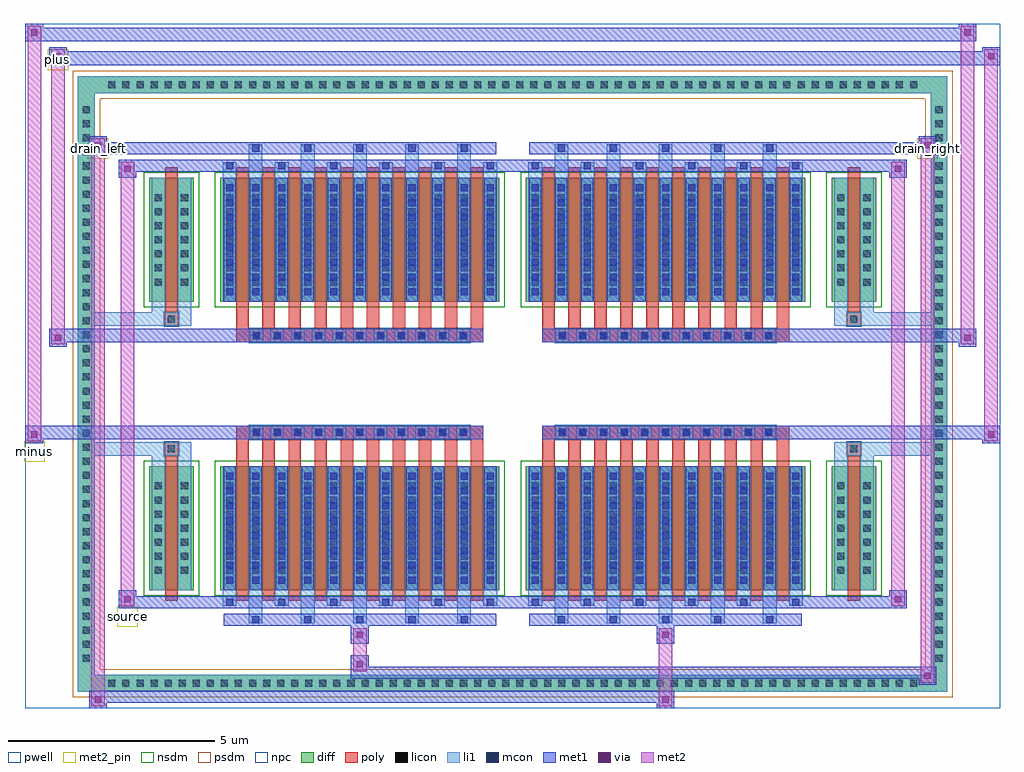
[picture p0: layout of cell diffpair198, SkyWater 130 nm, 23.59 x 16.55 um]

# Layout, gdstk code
import gdstk
lib = gdstk.Library(unit=1e-6, precision=5e-09)
def R(c, l, rs):  # rectangles x0, y0, x1, y1
    for r in rs: c.add(gdstk.rectangle(r[:2], r[2:], *l))
def A(c, l, x, y, w, h, nx, ny, dx, dy):  # array of equal rectangles
    R(c, l, [(x+i*dx, y+j*dy, x+i*dx+w, y+j*dy+h) for i in range(nx) for j in range(ny)])
def P(c, l, *ps):  # polygons
    for p in ps: c.add(gdstk.Polygon(p, *l))
pwell = (64, 44)
diff = (65, 20)
poly = (66, 20)
licon = (66, 44)
li1 = (67, 20)
mcon = (67, 44)
met1 = (68, 20)
via = (68, 44)
met2_pin = (69, 16)
met2 = (69, 20)
nsdm = (93, 44)
psdm = (94, 20)
npc = (95, 20)

diffpair198 = lib.new_cell('diffpair198')
R(diffpair198, pwell, [(-11.78,-7.84,11.78,8.71), (-9.1,-6.03,-0.01,-0.805), (0.01,-6.03,9.1,-0.805), (-9.1,0.805,-0.01,6.03), (0.01,0.805,9.1,6.03)])
A(diffpair198, diff, -9.895, -7.44, 0.41, 0.41, 58, 2, 0.34, 14.47)
A(diffpair198, diff, -10.51, -6.835, 0.41, 0.41, 1, 40, 0, 0.34)
A(diffpair198, diff, 10.1, -6.835, 0.41, 0.41, 1, 40, 0, 0.34)
R(diffpair198, diff, [(-9.895,-7.44,9.895,-7.03), (-10.51,-6.835,-10.1,6.835), (10.1,-6.835,10.51,6.835), (-8.79,-4.985,-7.71,-1.985), (-7.07,-4.985,-0.32,-1.985), (0.32,-4.985,7.07,-1.985), (7.71,-4.985,8.79,-1.985), (-8.79,1.985,-7.71,4.985), (-7.07,1.985,-0.32,4.985), (0.32,1.985,7.07,4.985), (7.71,1.985,8.79,4.985), (-9.895,7.03,9.895,7.44)])
P(diffpair198, diff, [(10.51,7.44),(-10.51,7.44),(-10.51,-7.03),(-10.1,-7.03),(-10.1,7.03),(10.1,7.03),(10.1,-7.03),(-10.1,-7.03),(-10.51,-7.03),(-10.51,-7.44),(10.51,-7.44)])
A(diffpair198, poly, -6.68, -5.235, 0.3, 3.5, 10, 2, 0.63, 6.97)
A(diffpair198, poly, 0.71, -5.235, 0.3, 3.5, 10, 2, 0.63, 6.97)
A(diffpair198, poly, -6.68, -1.735, 0.3, 0.4, 10, 2, 0.63, 3.07)
A(diffpair198, poly, 0.71, -1.735, 0.3, 0.4, 10, 2, 0.63, 3.07)
A(diffpair198, poly, -6.36, -1.335, 0.33, 0.33, 11, 2, 0.5, 2.34)
A(diffpair198, poly, 1.03, -1.335, 0.33, 0.33, 11, 2, 0.5, 2.34)
R(diffpair198, poly, [(-8.4,-5.235,-8.1,-1.735), (8.1,-5.235,8.4,-1.735), (-8.415,-1.735,-8.085,-1.405), (-8.415,-1.735,-8.085,-1.405), (8.085,-1.735,8.415,-1.405), (8.085,-1.735,8.415,-1.405), (-6.68,-1.335,-0.71,-1.005), (0.71,-1.335,6.68,-1.005), (-6.68,1.005,-0.71,1.335), (0.71,1.005,6.68,1.335), (-8.415,1.405,-8.085,1.735), (-8.415,1.405,-8.085,1.735), (8.085,1.405,8.415,1.735), (8.085,1.405,8.415,1.735), (-8.4,1.735,-8.1,5.235), (8.1,1.735,8.4,5.235)])
A(diffpair198, licon, -9.775, -7.32, 0.17, 0.17, 58, 2, 0.34, 14.47)
A(diffpair198, licon, -10.39, -6.715, 0.17, 0.17, 1, 40, 0, 0.34)
A(diffpair198, licon, 10.22, -6.715, 0.17, 0.17, 1, 40, 0, 0.34)
A(diffpair198, licon, -8.65, -4.59, 0.17, 0.17, 1, 7, 0, 0.34)
A(diffpair198, licon, -8.02, -4.59, 0.17, 0.17, 1, 7, 0, 0.34)
A(diffpair198, licon, -6.93, -4.59, 0.17, 0.17, 11, 7, 0.63, 0.34)
A(diffpair198, licon, 0.46, -4.59, 0.17, 0.17, 11, 7, 0.63, 0.34)
A(diffpair198, licon, 7.85, -4.59, 0.17, 0.17, 1, 7, 0, 0.34)
A(diffpair198, licon, 8.48, -4.59, 0.17, 0.17, 1, 7, 0, 0.34)
A(diffpair198, licon, -6.28, -1.255, 0.17, 0.17, 11, 2, 0.5, 2.34)
A(diffpair198, licon, 1.11, -1.255, 0.17, 0.17, 11, 2, 0.5, 2.34)
A(diffpair198, licon, -8.65, 2.38, 0.17, 0.17, 1, 7, 0, 0.34)
A(diffpair198, licon, -8.02, 2.38, 0.17, 0.17, 1, 7, 0, 0.34)
A(diffpair198, licon, -6.93, 2.38, 0.17, 0.17, 11, 7, 0.63, 0.34)
A(diffpair198, licon, 0.46, 2.38, 0.17, 0.17, 11, 7, 0.63, 0.34)
A(diffpair198, licon, 7.85, 2.38, 0.17, 0.17, 1, 7, 0, 0.34)
A(diffpair198, licon, 8.48, 2.38, 0.17, 0.17, 1, 7, 0, 0.34)
R(diffpair198, licon, [(-8.335,-1.655,-8.165,-1.485), (8.165,-1.655,8.335,-1.485), (-8.335,1.485,-8.165,1.655), (8.165,1.485,8.335,1.655)])
A(diffpair198, li1, -9.855, -7.4, 0.33, 0.33, 58, 2, 0.34, 14.47)
A(diffpair198, li1, -10.47, -6.795, 0.33, 0.33, 1, 40, 0, 0.34)
A(diffpair198, li1, 10.14, -6.795, 0.33, 0.33, 1, 40, 0, 0.34)
A(diffpair198, li1, -6.38, -5.79, 0.33, 0.805, 5, 2, 1.26, 10.775)
A(diffpair198, li1, -6.3, -5.79, 0.17, 0.17, 5, 2, 1.26, 11.41)
A(diffpair198, li1, 1.01, -5.79, 0.33, 0.805, 5, 2, 1.26, 10.775)
A(diffpair198, li1, 1.09, -5.79, 0.17, 0.17, 5, 2, 1.26, 11.41)
A(diffpair198, li1, -7.01, -5.36, 0.33, 0.375, 6, 2, 1.26, 10.345)
A(diffpair198, li1, -6.93, -5.36, 0.17, 0.17, 6, 2, 1.26, 10.55)
A(diffpair198, li1, 0.38, -5.36, 0.33, 0.375, 6, 2, 1.26, 10.345)
A(diffpair198, li1, 0.46, -5.36, 0.17, 0.17, 6, 2, 1.26, 10.55)
A(diffpair198, li1, -7.01, -4.985, 0.33, 3, 11, 2, 0.63, 6.97)
A(diffpair198, li1, 0.38, -4.985, 0.33, 3, 11, 2, 0.63, 6.97)
A(diffpair198, li1, -6.93, -4.83, 0.17, 0.17, 11, 8, 0.63, 0.36)
A(diffpair198, li1, -6.93, -4.83, 0.17, 2.69, 11, 2, 0.63, 6.97)
A(diffpair198, li1, 0.46, -4.83, 0.17, 0.17, 11, 8, 0.63, 0.36)
A(diffpair198, li1, 0.46, -4.83, 0.17, 2.69, 11, 2, 0.63, 6.97)
A(diffpair198, li1, -8.73, -4.67, 0.33, 0.33, 1, 7, 0, 0.34)
A(diffpair198, li1, -8.1, -4.67, 0.33, 0.33, 1, 7, 0, 0.34)
A(diffpair198, li1, -7.01, -4.67, 0.33, 0.33, 11, 7, 0.63, 0.34)
A(diffpair198, li1, 0.38, -4.67, 0.33, 0.33, 11, 7, 0.63, 0.34)
A(diffpair198, li1, 7.77, -4.67, 0.33, 0.33, 1, 7, 0, 0.34)
A(diffpair198, li1, 8.4, -4.67, 0.33, 0.33, 1, 7, 0, 0.34)
A(diffpair198, li1, -6.36, -1.335, 0.33, 0.33, 11, 2, 0.5, 2.34)
A(diffpair198, li1, 1.03, -1.335, 0.33, 0.33, 11, 2, 0.5, 2.34)
A(diffpair198, li1, -6.93, 2.14, 0.17, 0.17, 11, 8, 0.63, 0.36)
A(diffpair198, li1, 0.46, 2.14, 0.17, 0.17, 11, 8, 0.63, 0.36)
A(diffpair198, li1, -8.73, 2.3, 0.33, 0.33, 1, 7, 0, 0.34)
A(diffpair198, li1, -8.1, 2.3, 0.33, 0.33, 1, 7, 0, 0.34)
A(diffpair198, li1, -7.01, 2.3, 0.33, 0.33, 11, 7, 0.63, 0.34)
A(diffpair198, li1, 0.38, 2.3, 0.33, 0.33, 11, 7, 0.63, 0.34)
A(diffpair198, li1, 7.77, 2.3, 0.33, 0.33, 1, 7, 0, 0.34)
A(diffpair198, li1, 8.4, 2.3, 0.33, 0.33, 1, 7, 0, 0.34)
R(diffpair198, li1, [(-10.51,-7.44,-10.1,-7.03), (-10.51,-7.44,-10.1,-7.03), (-10.1,-7.44,10.1,-7.03), (10.1,-7.44,10.51,-7.03), (10.1,-7.44,10.51,-7.03), (-10.51,-7.03,-10.1,7.03), (10.1,-7.03,10.51,7.03), (-8.73,-4.985,-8.4,-1.985), (-8.1,-4.985,-7.77,-1.985), (7.77,-4.985,8.1,-1.985), (8.4,-4.985,8.73,-1.985), (-8.73,-1.985,-8.4,-1.405), (-8.1,-1.985,-7.77,-1.405), (7.77,-1.985,8.1,-1.405), (8.4,-1.985,8.73,-1.405), (-10.51,-1.735,-8.415,-1.405), (-8.73,-1.735,-8.415,-1.405), (-8.415,-1.735,-8.085,-1.405), (-8.085,-1.735,-7.77,-1.405), (7.77,-1.735,8.085,-1.405), (8.085,-1.735,8.415,-1.405), (8.085,-1.735,10.51,-1.405), (8.415,-1.735,8.73,-1.405), (-10.51,1.405,-8.415,1.735), (-8.73,1.405,-8.415,1.735), (-8.73,1.405,-8.4,1.985), (-8.415,1.405,-8.085,1.735), (-8.1,1.405,-7.77,1.985), (-8.085,1.405,-7.77,1.735), (7.77,1.405,8.085,1.735), (7.77,1.405,8.1,1.985), (8.085,1.405,8.415,1.735), (8.085,1.405,10.51,1.735), (8.4,1.405,8.73,1.985), (8.415,1.405,8.73,1.735), (-8.73,1.985,-8.4,4.985), (-8.1,1.985,-7.77,4.985), (7.77,1.985,8.1,4.985), (8.4,1.985,8.73,4.985), (-10.51,7.03,-10.1,7.44), (-10.51,7.03,-10.1,7.44), (-10.1,7.03,10.1,7.44), (10.1,7.03,10.51,7.44), (10.1,7.03,10.51,7.44)])
A(diffpair198, mcon, -6.3, -5.79, 0.17, 0.17, 5, 2, 1.26, 11.41)
A(diffpair198, mcon, 1.09, -5.79, 0.17, 0.17, 5, 2, 1.26, 11.41)
A(diffpair198, mcon, -6.93, -5.36, 0.17, 0.17, 6, 2, 1.26, 10.55)
A(diffpair198, mcon, 0.46, -5.36, 0.17, 0.17, 6, 2, 1.26, 10.55)
A(diffpair198, mcon, -6.93, -4.83, 0.17, 0.17, 11, 8, 0.63, 0.36)
A(diffpair198, mcon, 0.46, -4.83, 0.17, 0.17, 11, 8, 0.63, 0.36)
A(diffpair198, mcon, -6.28, -1.255, 0.17, 0.17, 11, 2, 0.5, 2.34)
A(diffpair198, mcon, 1.11, -1.255, 0.17, 0.17, 11, 2, 0.5, 2.34)
A(diffpair198, mcon, -6.93, 2.14, 0.17, 0.17, 11, 8, 0.63, 0.36)
A(diffpair198, mcon, 0.46, 2.14, 0.17, 0.17, 11, 8, 0.63, 0.36)
A(diffpair198, met1, -6.36, -5.85, 0.29, 0.29, 5, 2, 1.26, 11.41)
A(diffpair198, met1, 1.03, -5.85, 0.29, 0.29, 5, 2, 1.26, 11.41)
A(diffpair198, met1, -6.99, -5.42, 0.29, 0.29, 6, 2, 1.26, 10.55)
A(diffpair198, met1, 0.4, -5.42, 0.29, 0.29, 6, 2, 1.26, 10.55)
A(diffpair198, met1, -6.99, -4.985, 0.29, 3, 11, 2, 0.63, 6.97)
A(diffpair198, met1, 0.4, -4.985, 0.29, 3, 11, 2, 0.63, 6.97)
A(diffpair198, met1, -6.99, -4.89, 0.29, 0.29, 11, 8, 0.63, 0.36)
A(diffpair198, met1, 0.4, -4.89, 0.29, 0.29, 11, 8, 0.63, 0.36)
A(diffpair198, met1, -6.34, -1.315, 0.29, 0.29, 11, 2, 0.5, 2.34)
A(diffpair198, met1, 1.05, -1.315, 0.29, 0.29, 11, 2, 0.5, 2.34)
A(diffpair198, met1, -6.99, 2.08, 0.29, 0.29, 11, 8, 0.63, 0.36)
A(diffpair198, met1, 0.4, 2.08, 0.29, 0.29, 11, 8, 0.63, 0.36)
R(diffpair198, met1, [(-10.24,-7.84,-9.81,-7.41), (3.48,-7.84,3.91,-7.41), (-10.24,-7.7,3.91,-7.41), (9.81,-7.27,10.24,-6.84), (-3.91,-7.13,10.24,-6.84), (-3.91,-6.99,-3.48,-6.56), (-3.91,-6.28,-3.48,-5.85), (3.48,-6.28,3.91,-5.85), (-6.99,-5.85,-0.4,-5.56), (0.4,-5.85,6.99,-5.56), (-9.53,-5.42,-9.1,-4.99), (-9.53,-5.42,-6.99,-5.13), (-6.99,-5.42,-0.4,-5.13), (-0.4,-5.42,0.4,-5.13), (0.4,-5.42,6.99,-5.13), (6.99,-5.42,9.53,-5.13), (9.1,-5.42,9.53,-4.99), (-11.78,-1.435,-11.35,-1.005), (11.35,-1.435,11.78,-1.005), (-11.78,-1.335,-0.71,-1.005), (-6.68,-1.335,-0.71,-1.005), (0.71,-1.335,6.68,-1.005), (0.71,-1.335,11.78,-1.005), (-11.21,0.905,-10.78,1.335), (10.78,0.905,11.21,1.335), (-11.21,1.005,-6.68,1.335), (-6.68,1.005,-0.71,1.335), (0.71,1.005,6.68,1.335), (6.68,1.005,11.21,1.335), (-9.53,4.99,-9.1,5.42), (9.1,4.99,9.53,5.42), (-9.53,5.13,-6.99,5.42), (-6.99,5.13,-0.4,5.42), (-0.4,5.13,0.4,5.42), (0.4,5.13,6.99,5.42), (6.99,5.13,9.53,5.42), (-10.24,5.56,-9.81,5.99), (-10.24,5.56,-6.99,5.85), (-6.99,5.56,-0.4,5.85), (0.4,5.56,6.99,5.85), (6.99,5.56,10.24,5.85), (9.81,5.56,10.24,5.99), (-11.21,7.71,-10.78,8.14), (-11.21,7.71,-9.1,8.04), (-9.1,7.71,9.1,8.04), (9.1,7.71,11.78,8.04), (11.35,7.71,11.78,8.14), (-11.78,8.28,-11.35,8.71), (-11.78,8.28,-9.1,8.61), (-9.1,8.28,9.1,8.61), (9.1,8.28,11.21,8.61), (10.78,8.28,11.21,8.71)])
R(diffpair198, via, [(-10.1,-7.7,-9.95,-7.55), (3.62,-7.7,3.77,-7.55), (9.95,-7.13,10.1,-6.98), (-3.77,-6.85,-3.62,-6.7), (-3.77,-6.14,-3.62,-5.99), (3.62,-6.14,3.77,-5.99), (-9.39,-5.28,-9.24,-5.13), (9.24,-5.28,9.39,-5.13), (-11.64,-1.295,-11.49,-1.145), (11.49,-1.295,11.64,-1.145), (-11.07,1.045,-10.92,1.195), (10.92,1.045,11.07,1.195), (-9.39,5.13,-9.24,5.28), (9.24,5.13,9.39,5.28), (-10.1,5.7,-9.95,5.85), (9.95,5.7,10.1,5.85), (-11.07,7.85,-10.92,8), (11.49,7.85,11.64,8), (-11.64,8.42,-11.49,8.57), (10.92,8.42,11.07,8.57)])
R(diffpair198, met2_pin, [(-9.565,-5.87,-9.065,-5.37), (-11.815,-1.885,-11.315,-1.385), (-10.275,5.44,-9.775,5.94), (9.775,5.44,10.275,5.94), (-11.245,7.59,-10.745,8.09)])
R(diffpair198, met2, [(-10.19,-7.79,-9.86,-7.46), (-10.19,-7.79,-9.86,5.94), (3.53,-7.79,3.86,-7.46), (3.53,-7.46,3.86,-6.23), (9.86,-7.22,10.19,-6.89), (9.86,-7.22,10.19,5.94), (-3.86,-6.94,-3.53,-6.61), (-3.86,-6.61,-3.53,-6.23), (-3.86,-6.23,-3.53,-5.9), (3.53,-6.23,3.86,-5.9), (-9.48,-5.37,-9.15,-5.04), (-9.48,-5.37,-9.15,5.37), (9.15,-5.37,9.48,-5.04), (9.15,-5.37,9.48,5.37), (-11.73,-1.385,-11.4,-1.055), (-11.73,-1.385,-11.4,8.66), (11.4,-1.385,11.73,-1.055), (11.4,-1.385,11.73,8.09), (-11.16,0.955,-10.83,1.285), (-11.16,0.955,-10.83,8.09), (10.83,0.955,11.16,1.285), (10.83,0.955,11.16,8.66), (-9.48,5.04,-9.15,5.37), (9.15,5.04,9.48,5.37), (-10.19,5.61,-9.86,5.94), (9.86,5.61,10.19,5.94), (-11.16,7.76,-10.83,8.09), (11.4,7.76,11.73,8.09), (-11.73,8.33,-11.4,8.66), (10.83,8.33,11.16,8.66)])
P(diffpair198, met2, [(11.73,-1.385),(11.73,-1.385),(11.73,-1.055),(11.73,-1.055)],
  [(11.73,7.76),(11.73,7.76),(11.73,8.09),(11.73,8.09)],
  [(-11.4,-1.385),(-11.4,-1.385),(-11.4,-1.055),(-11.4,-1.055)],
  [(-11.4,8.33),(-11.4,8.33),(-11.4,8.66),(-11.4,8.66)],
  [(11.16,0.955),(11.16,0.955),(11.16,1.285),(11.16,1.285)],
  [(11.16,8.33),(11.16,8.33),(11.16,8.66),(11.16,8.66)],
  [(-10.83,0.955),(-10.83,0.955),(-10.83,1.285),(-10.83,1.285)],
  [(-10.83,7.76),(-10.83,7.76),(-10.83,8.09),(-10.83,8.09)],
  [(-9.86,-7.79),(-9.86,-7.79),(-9.86,-7.46),(-9.86,-7.46)],
  [(-9.86,5.61),(-9.86,5.61),(-9.86,5.94),(-9.86,5.94)],
  [(10.19,-7.22),(10.19,-7.22),(10.19,-6.89),(10.19,-6.89)],
  [(10.19,5.61),(10.19,5.61),(10.19,5.94),(10.19,5.94)],
  [(-9.15,-5.37),(-9.15,-5.37),(-9.15,-5.04),(-9.15,-5.04)],
  [(-9.15,5.04),(-9.15,5.04),(-9.15,5.37),(-9.15,5.37)],
  [(9.48,-5.37),(9.48,-5.37),(9.48,-5.04),(9.48,-5.04)],
  [(9.48,5.04),(9.48,5.04),(9.48,5.37),(9.48,5.37)])
R(diffpair198, nsdm, [(-8.92,-5.115,-7.58,-1.855), (-7.2,-5.115,-0.19,-1.855), (0.19,-5.115,7.2,-1.855), (7.58,-5.115,8.92,-1.855), (-8.92,1.855,-7.58,5.115), (-7.2,1.855,-0.19,5.115), (0.19,1.855,7.2,5.115), (7.58,1.855,8.92,5.115)])
P(diffpair198, psdm, [(10.64,7.57),(-10.64,7.57),(-10.64,-6.9),(-9.97,-6.9),(-9.97,6.9),(9.97,6.9),(9.97,-6.9),(-9.97,-6.9),(-10.64,-6.9),(-10.64,-7.57),(10.64,-7.57)])
A(diffpair198, npc, -6.38, -1.355, 0.37, 0.37, 11, 2, 0.5, 2.34)
A(diffpair198, npc, 1.01, -1.355, 0.37, 0.37, 11, 2, 0.5, 2.34)
R(diffpair198, npc, [(-8.435,-1.755,-8.065,-1.385), (8.065,-1.755,8.435,-1.385), (-6.38,-1.355,-5.51,-0.985), (-6.38,-1.355,-5.51,-0.985), (-5.88,-1.355,-5.01,-0.985), (-5.88,-1.355,-5.01,-0.985), (-5.38,-1.355,-4.51,-0.985), (-5.38,-1.355,-4.51,-0.985), (-4.88,-1.355,-4.01,-0.985), (-4.88,-1.355,-4.01,-0.985), (-4.38,-1.355,-3.51,-0.985), (-4.38,-1.355,-3.51,-0.985), (-3.88,-1.355,-3.01,-0.985), (-3.88,-1.355,-3.01,-0.985), (-3.38,-1.355,-2.51,-0.985), (-3.38,-1.355,-2.51,-0.985), (-2.88,-1.355,-2.01,-0.985), (-2.88,-1.355,-2.01,-0.985), (-2.38,-1.355,-1.51,-0.985), (-2.38,-1.355,-1.51,-0.985), (-1.88,-1.355,-1.01,-0.985), (-1.88,-1.355,-1.01,-0.985), (1.01,-1.355,1.88,-0.985), (1.01,-1.355,1.88,-0.985), (1.51,-1.355,2.38,-0.985), (1.51,-1.355,2.38,-0.985), (2.01,-1.355,2.88,-0.985), (2.01,-1.355,2.88,-0.985), (2.51,-1.355,3.38,-0.985), (2.51,-1.355,3.38,-0.985), (3.01,-1.355,3.88,-0.985), (3.01,-1.355,3.88,-0.985), (3.51,-1.355,4.38,-0.985), (3.51,-1.355,4.38,-0.985), (4.01,-1.355,4.88,-0.985), (4.01,-1.355,4.88,-0.985), (4.51,-1.355,5.38,-0.985), (4.51,-1.355,5.38,-0.985), (5.01,-1.355,5.88,-0.985), (5.01,-1.355,5.88,-0.985), (5.51,-1.355,6.38,-0.985), (5.51,-1.355,6.38,-0.985), (-6.38,0.985,-5.51,1.355), (-6.38,0.985,-5.51,1.355), (-5.88,0.985,-5.01,1.355), (-5.88,0.985,-5.01,1.355), (-5.38,0.985,-4.51,1.355), (-5.38,0.985,-4.51,1.355), (-4.88,0.985,-4.01,1.355), (-4.88,0.985,-4.01,1.355), (-4.38,0.985,-3.51,1.355), (-4.38,0.985,-3.51,1.355), (-3.88,0.985,-3.01,1.355), (-3.88,0.985,-3.01,1.355), (-3.38,0.985,-2.51,1.355), (-3.38,0.985,-2.51,1.355), (-2.88,0.985,-2.01,1.355), (-2.88,0.985,-2.01,1.355), (-2.38,0.985,-1.51,1.355), (-2.38,0.985,-1.51,1.355), (-1.88,0.985,-1.01,1.355), (-1.88,0.985,-1.01,1.355), (1.01,0.985,1.88,1.355), (1.01,0.985,1.88,1.355), (1.51,0.985,2.38,1.355), (1.51,0.985,2.38,1.355), (2.01,0.985,2.88,1.355), (2.01,0.985,2.88,1.355), (2.51,0.985,3.38,1.355), (2.51,0.985,3.38,1.355), (3.01,0.985,3.88,1.355), (3.01,0.985,3.88,1.355), (3.51,0.985,4.38,1.355), (3.51,0.985,4.38,1.355), (4.01,0.985,4.88,1.355), (4.01,0.985,4.88,1.355), (4.51,0.985,5.38,1.355), (4.51,0.985,5.38,1.355), (5.01,0.985,5.88,1.355), (5.01,0.985,5.88,1.355), (5.51,0.985,6.38,1.355), (5.51,0.985,6.38,1.355), (-8.435,1.385,-8.065,1.755), (8.065,1.385,8.435,1.755)])
diffpair198.add(gdstk.Label('minus', (-11.565,-1.635), layer=69, texttype=5))
diffpair198.add(gdstk.Label('drain_right', (10.025,5.69), layer=69, texttype=5))
diffpair198.add(gdstk.Label('drain_left', (-10.025,5.69), layer=69, texttype=5))
diffpair198.add(gdstk.Label('source', (-9.315,-5.62), layer=69, texttype=5))
diffpair198.add(gdstk.Label('plus', (-10.995,7.84), layer=69, texttype=5))

lib.write_gds('diffpair198.gds')
